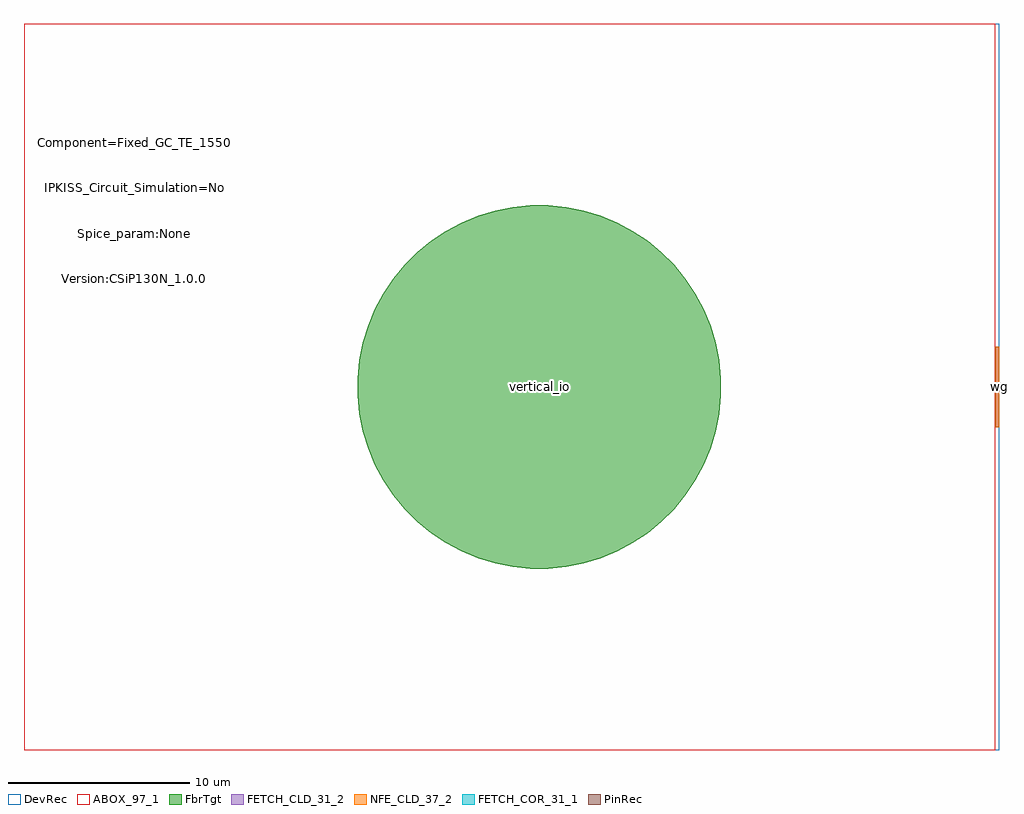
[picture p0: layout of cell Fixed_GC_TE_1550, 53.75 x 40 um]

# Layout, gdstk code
import gdstk
lib = gdstk.Library(unit=1e-6, precision=1e-09)
def R(c, l, rs):  # rectangles x0, y0, x1, y1
    for r in rs: c.add(gdstk.rectangle(r[:2], r[2:], *l))
def P(c, l, *ps):  # polygons
    for p in ps: c.add(gdstk.Polygon(p, *l))
FETCH_COR_31_1 = (31, 1)
FETCH_CLD_31_2 = (31, 2)
NFE_CLD_37_2 = (37, 2)
PinRec = (95, 0)
ABOX_97_1 = (97, 1)
FbrTgt = (1000, 0)
DevRec = (1001, 0)

fixed_gc_te_1550 = lib.new_cell('Fixed_GC_TE_1550')
R(fixed_gc_te_1550, FETCH_COR_31_1, [(-0.2,-0.225,0,0.225)])
R(fixed_gc_te_1550, FETCH_CLD_31_2, [(-0.2,-2.225,0,2.225), (-0.2,-2.225,0,2.225)])
R(fixed_gc_te_1550, NFE_CLD_37_2, [(-0.2,-2.225,0,2.225), (-0.2,-2.225,0,2.225)])
R(fixed_gc_te_1550, ABOX_97_1, [(-53.7,-20,-0.2,20)])
P(fixed_gc_te_1550, FbrTgt, [(-25.811,-10),(-26.789,-9.904),(-27.753,-9.712),(-28.693,-9.427),(-29.601,-9.051),(-30.467,-8.588),(-31.284,-8.042),(-32.044,-7.418),(-32.738,-6.724),(-33.362,-5.964),(-33.908,-5.147),(-34.371,-4.281),(-34.747,-3.373),(-35.032,-2.433),(-35.224,-1.469),(-35.32,-0.491),(-35.32,0.491),(-35.224,1.469),(-35.032,2.433),(-34.747,3.373),(-34.371,4.281),(-33.908,5.147),(-33.362,5.964),(-32.738,6.724),(-32.044,7.418),(-31.284,8.042),(-30.467,8.588),(-29.601,9.051),(-28.693,9.427),(-27.753,9.712),(-26.789,9.904),(-25.811,10),(-24.829,10),(-23.851,9.904),(-22.887,9.712),(-21.947,9.427),(-21.039,9.051),(-20.173,8.588),(-19.356,8.042),(-18.596,7.418),(-17.902,6.724),(-17.278,5.964),(-16.732,5.147),(-16.269,4.281),(-15.893,3.373),(-15.608,2.433),(-15.416,1.469),(-15.32,0.491),(-15.32,-0.491),(-15.416,-1.469),(-15.608,-2.433),(-15.893,-3.373),(-16.269,-4.281),(-16.732,-5.147),(-17.278,-5.964),(-17.902,-6.724),(-18.596,-7.418),(-19.356,-8.042),(-20.173,-8.588),(-21.039,-9.051),(-21.947,-9.427),(-22.887,-9.712),(-23.851,-9.904),(-24.829,-10)])
R(fixed_gc_te_1550, DevRec, [(-53.7,-20,0,20)])
fixed_gc_te_1550.add(gdstk.FlexPath([(-0.05,0),(0.05,0)], 0.45, ends="flush", simple_path=True, layer=95, datatype=0))  # PinRec
fixed_gc_te_1550.add(gdstk.Label('wg', (0,0), layer=95, texttype=0))
fixed_gc_te_1550.add(gdstk.Label('vertical_io', (-25.32,0), layer=1000, texttype=0))
fixed_gc_te_1550.add(gdstk.Label('Version:CSiP130N_1.0.0', (-47.62,5.97), layer=1001, texttype=0))
fixed_gc_te_1550.add(gdstk.Label('IPKISS_Circuit_Simulation=None', (-47.62,10.97), layer=1001, texttype=0))
fixed_gc_te_1550.add(gdstk.Label('Component=Fixed_GC_TE_1550', (-47.62,13.47), layer=1001, texttype=0))
fixed_gc_te_1550.add(gdstk.Label('Spice_param:None', (-47.62,8.47), layer=1001, texttype=0))

lib.write_gds('Fixed_GC_TE_1550.gds')
